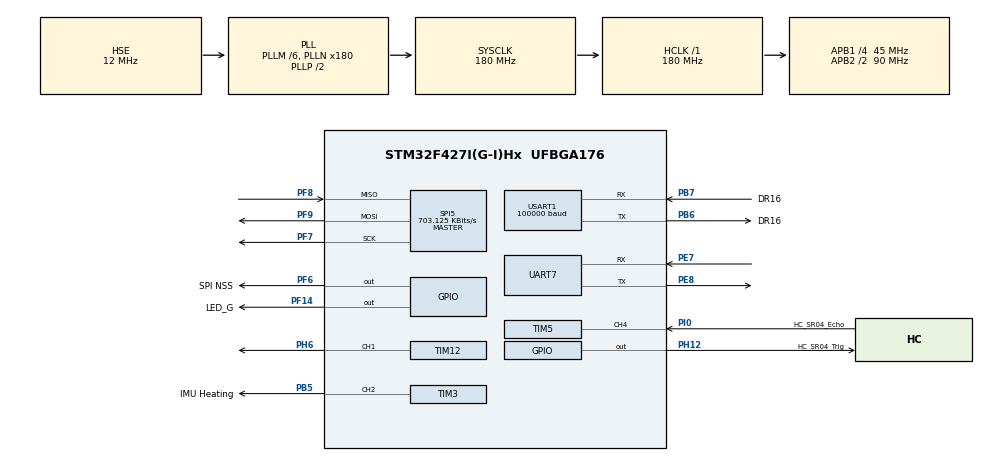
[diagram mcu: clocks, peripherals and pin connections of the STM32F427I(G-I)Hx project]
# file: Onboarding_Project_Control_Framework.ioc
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Dma.Request0=USART1_RX
Dma.USART1_RX.0.Direction=DMA_PERIPH_TO_MEMORY
Dma.USART1_RX.0.FIFOMode=DMA_FIFOMODE_DISABLE
Dma.USART1_RX.0.Instance=DMA2_Stream2
Dma.USART1_RX.0.MemDataAlignment=DMA_MDATAALIGN_BYTE
Dma.USART1_RX.0.MemInc=DMA_MINC_ENABLE
Dma.USART1_RX.0.Mode=DMA_CIRCULAR
Dma.USART1_RX.0.PeriphDataAlignment=DMA_PDATAALIGN_BYTE
Dma.USART1_RX.0.PeriphInc=DMA_PINC_DISABLE
Dma.USART1_RX.0.Priority=DMA_PRIORITY_LOW
FREERTOS.INCLUDE_vTaskDelayUntil=1
FREERTOS.Tasks01=Task_IMU,0,384,StartIMUTask,Default,NULL,Dynamic,NULL,NULL;Task_Init,2,128,General_Init,Default,NULL,Dynamic,NULL,NULL;Task_Robot_Ctrl,3,640,Robot_Control,Default,NULL,Dynamic,NULL,NULL;Task_Serial,2,128,Serial_Send,Default,NULL,Dynamic,NULL,NULL;Task_Warning,0,128,Sound_Warning,Default,NULL,Dynamic,NULL,NULL
Mcu.Family=STM32F4
Mcu.Name=STM32F427I(G-I)Hx
Mcu.Package=UFBGA176
NVIC.DMA2_Stream2_IRQn=true\:0\:0\:true\:false\:true\:false\:false\:false\:true
NVIC.PriorityGroup=NVIC_PRIORITYGROUP_4
NVIC.TIM5_IRQn=true\:5\:0\:true\:false\:true\:true\:true\:true\:true
NVIC.TIM6_DAC_IRQn=true\:15\:0\:true\:false\:true\:false\:false\:true\:true
NVIC.TimeBase=TIM6_DAC_IRQn
NVIC.TimeBaseIP=TIM6
NVIC.USART1_IRQn=true\:5\:0\:true\:false\:true\:true\:true\:false\:true
PA13.Mode=Serial_Wire
PA13.Signal=SYS_JTMS-SWDIO
PA14.Mode=Serial_Wire
PA14.Signal=SYS_JTCK-SWCLK
PB5.GPIO_Label=IMU Heating
PB5.Signal=S_TIM3_CH2
PB6.GPIO_Label=DR16
PB6.GPIO_PuPd=GPIO_PULLUP
PB6.Mode=Asynchronous
PB6.Signal=USART1_TX
PB7.GPIO_Label=DR16
PB7.GPIO_PuPd=GPIO_PULLUP
PB7.Mode=Asynchronous
PB7.Signal=USART1_RX
PE7.Mode=Asynchronous
PE7.Signal=UART7_RX
PE8.Mode=Asynchronous
PE8.Signal=UART7_TX
PF14.GPIO_Label=LED_G
PF14.GPIO_PuPd=GPIO_NOPULL
PF14.PinState=GPIO_PIN_RESET
PF14.Signal=GPIO_Output
PF6.GPIO_Label=SPI NSS
PF6.GPIO_PuPd=GPIO_PULLUP
PF6.GPIO_Speed=GPIO_SPEED_FREQ_LOW
PF6.Signal=GPIO_Output
PF7.Mode=Full_Duplex_Master
PF7.Signal=SPI5_SCK
PF8.Mode=Full_Duplex_Master
PF8.Signal=SPI5_MISO
PF9.Mode=Full_Duplex_Master
PF9.Signal=SPI5_MOSI
PH0/OSC_IN.Mode=HSE-External-Oscillator
PH0/OSC_IN.Signal=RCC_OSC_IN
PH1/OSC_OUT.Mode=HSE-External-Oscillator
PH1/OSC_OUT.Signal=RCC_OSC_OUT
PH12.GPIO_Label=HC_SR04_Trig
PH12.GPIO_Speed=GPIO_SPEED_FREQ_HIGH
PH12.Signal=GPIO_Output
PH6.Signal=S_TIM12_CH1
PI0.GPIO_Label=HC_SR04_Echo
PI0.Signal=S_TIM5_CH4
ProjectManager.HeapSize=0x200
ProjectManager.StackSize=0x400
ProjectManager.TargetToolchain=MDK-ARM V5.32
RCC.48MHZClocksFreq_Value=90000000
RCC.AHBFreq_Value=180000000
RCC.APB1CLKDivider=RCC_HCLK_DIV4
RCC.APB1Freq_Value=45000000
RCC.APB1TimFreq_Value=90000000
RCC.APB2CLKDivider=RCC_HCLK_DIV2
RCC.APB2Freq_Value=90000000
RCC.APB2TimFreq_Value=180000000
RCC.CortexFreq_Value=180000000
RCC.HCLKFreq_Value=180000000
RCC.HSE_VALUE=12000000
RCC.HSI_VALUE=16000000
RCC.LSE_VALUE=32768
RCC.PLLM=6
RCC.PLLN=180
RCC.PLLSourceVirtual=RCC_PLLSOURCE_HSE
RCC.SYSCLKFreq_VALUE=180000000
RCC.SYSCLKSource=RCC_SYSCLKSOURCE_PLLCLK
RCC.VCOOutputFreq_Value=360000000
SH.S_TIM12_CH1.0=TIM12_CH1,PWM Generation1 CH1
SH.S_TIM3_CH2.0=TIM3_CH2,PWM Generation2 CH2
SH.S_TIM5_CH4.0=TIM5_CH4,Input_Capture4_from_TI4
SPI5.BaudRatePrescaler=SPI_BAUDRATEPRESCALER_128
SPI5.CalculateBaudRate=703.125 KBits/s
SPI5.Direction=SPI_DIRECTION_2LINES
SPI5.Mode=SPI_MODE_MASTER
SPI5.VirtualType=VM_MASTER
TIM12.Channel-PWM\ Generation1\ CH1=TIM_CHANNEL_1
TIM12.Period=0
TIM12.Prescaler=45
TIM3.Channel-PWM\ Generation2\ CH2=TIM_CHANNEL_2
TIM3.Period=4999
TIM5.Channel-Input_Capture4_from_TI4=TIM_CHANNEL_4
TIM5.ICFilter_CH4=0
TIM5.ICPolarity_CH4=TIM_INPUTCHANNELPOLARITY_RISING
TIM5.Period=100000-1
TIM5.Prescaler=90-1
UART7.VirtualMode=Asynchronous
USART1.BaudRate=100000
USART1.VirtualMode=VM_ASYNC
VP_FREERTOS_VS_CMSIS_V1.Mode=CMSIS_V1
VP_SYS_VS_tim6.Mode=TIM6
VP_TIM3_VS_ClockSourceINT.Mode=Internal
VP_TIM5_VS_ClockSourceINT.Mode=Internal
board=custom

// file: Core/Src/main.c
/* USER CODE BEGIN Header */
/**
  ******************************************************************************
  * @file           : main.c
  * @brief          : Main program body
  ******************************************************************************
  * @attention
  *
  * Copyright (c) 2022 STMicroelectronics.
  * All rights reserved.
  *
  * This software is licensed under terms that can be found in the LICENSE file
  * in the root directory of this software component.
  * If no LICENSE file comes with this software, it is provided AS-IS.
  *
  ******************************************************************************
  */
/* USER CODE END Header */
#include "main.h"
#include "cmsis_os.h"
#include "dma.h"
#include "spi.h"
#include "tim.h"
#include "usart.h"
#include "gpio.h"

/* USER CODE BEGIN Includes */
#include "HC_SR04.h"
/* USER CODE END Includes */

void SystemClock_Config(void);
void MX_FREERTOS_Init(void);

int main(void)
{

  /* MCU Configuration--------------------------------------------------------*/

  /* Reset of all peripherals, Initializes the Flash interface and the Systick. */
  HAL_Init();

  /* Configure the system clock */
  SystemClock_Config();

  /* Initialize all configured peripherals */
  MX_GPIO_Init();
  MX_DMA_Init();
  MX_TIM3_Init();
  MX_USART1_UART_Init();
  MX_SPI5_Init();
  MX_TIM5_Init();
  MX_UART7_Init();
  MX_TIM12_Init();

  /* Call init function for freertos objects (in freertos.c) */
  MX_FREERTOS_Init();

  /* Start scheduler */
  osKernelStart();

  /* We should never get here as control is now taken by the scheduler */
  /* Infinite loop */
  while (1)
  {

  }
}

void SystemClock_Config(void)
{
  RCC_OscInitTypeDef RCC_OscInitStruct = {0};
  RCC_ClkInitTypeDef RCC_ClkInitStruct = {0};

  /** Configure the main internal regulator output voltage
  */
  __HAL_RCC_PWR_CLK_ENABLE();
  __HAL_PWR_VOLTAGESCALING_CONFIG(PWR_REGULATOR_VOLTAGE_SCALE1);

  /** Initializes the RCC Oscillators according to the specified parameters
  * in the RCC_OscInitTypeDef structure.
  */
  RCC_OscInitStruct.OscillatorType = RCC_OSCILLATORTYPE_LSI|RCC_OSCILLATORTYPE_HSE;
  RCC_OscInitStruct.HSEState = RCC_HSE_ON;
  RCC_OscInitStruct.LSIState = RCC_LSI_ON;
  RCC_OscInitStruct.PLL.PLLState = RCC_PLL_ON;
  RCC_OscInitStruct.PLL.PLLSource = RCC_PLLSOURCE_HSE;
  RCC_OscInitStruct.PLL.PLLM = 6;
  RCC_OscInitStruct.PLL.PLLN = 180;
  RCC_OscInitStruct.PLL.PLLP = RCC_PLLP_DIV2;
  RCC_OscInitStruct.PLL.PLLQ = 4;
  if (HAL_RCC_OscConfig(&RCC_OscInitStruct) != HAL_OK)
  {
    Error_Handler();
  }

  /** Activate the Over-Drive mode
  */
  if (HAL_PWREx_EnableOverDrive() != HAL_OK)
  {
    Error_Handler();
  }

  /** Initializes the CPU, AHB and APB buses clocks
  */
  RCC_ClkInitStruct.ClockType = RCC_CLOCKTYPE_HCLK|RCC_CLOCKTYPE_SYSCLK
                              |RCC_CLOCKTYPE_PCLK1|RCC_CLOCKTYPE_PCLK2;
  RCC_ClkInitStruct.SYSCLKSource = RCC_SYSCLKSOURCE_PLLCLK;
  RCC_ClkInitStruct.AHBCLKDivider = RCC_SYSCLK_DIV1;
  RCC_ClkInitStruct.APB1CLKDivider = RCC_HCLK_DIV4;
  RCC_ClkInitStruct.APB2CLKDivider = RCC_HCLK_DIV2;

  if (HAL_RCC_ClockConfig(&RCC_ClkInitStruct, FLASH_LATENCY_5) != HAL_OK)
  {
    Error_Handler();
  }
}

void HAL_TIM_PeriodElapsedCallback(TIM_HandleTypeDef *htim)
{
  if (htim->Instance == TIM6) {
    HAL_IncTick();
  }
}

void Error_Handler(void)
{
  __disable_irq();
  while (1)
  {
  }
}

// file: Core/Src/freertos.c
/* USER CODE BEGIN Header */
/**
  ******************************************************************************
  * File Name          : freertos.c
  * Description        : Code for freertos applications
  ******************************************************************************
  * @attention
  *
  * Copyright (c) 2022 STMicroelectronics.
  * All rights reserved.
  *
  * This software is licensed under terms that can be found in the LICENSE file
  * in the root directory of this software component.
  * If no LICENSE file comes with this software, it is provided AS-IS.
  *
  ******************************************************************************
  */
/* USER CODE END Header */

#include "FreeRTOS.h"
#include "task.h"
#include "main.h"
#include "cmsis_os.h"

/* USER CODE BEGIN Includes */
#include "Board_A_IMU.h"
#include "IMU_Temp_Control.h"
#include "DR16_Remote.h"
#include "Fusion.h"
#include "Motors.h"
#include "Robot_Control.h"
#include "HC_SR04.h"
#include "Serial.h"
#include "Buzzer.h"
/* USER CODE END Includes */

osThreadId Task_IMUHandle;
osThreadId Task_InitHandle;
osThreadId Task_Robot_CtrlHandle;
osThreadId Task_SerialHandle;
osThreadId Task_WarningHandle;

void StartIMUTask(void const * argument);
void General_Init(void const * argument);
void Robot_Control(void const * argument);
void Serial_Send(void const * argument);
void Sound_Warning(void const * argument);

void MX_FREERTOS_Init(void); /* (MISRA C 2004 rule 8.1) */

/* GetIdleTaskMemory prototype (linked to static allocation support) */
void vApplicationGetIdleTaskMemory( StaticTask_t **ppxIdleTaskTCBBuffer, StackType_t **ppxIdleTaskStackBuffer, uint32_t *pulIdleTaskStackSize );

/* USER CODE BEGIN GET_IDLE_TASK_MEMORY */
static StaticTask_t xIdleTaskTCBBuffer;
static StackType_t xIdleStack[configMINIMAL_STACK_SIZE];

void vApplicationGetIdleTaskMemory( StaticTask_t **ppxIdleTaskTCBBuffer, StackType_t **ppxIdleTaskStackBuffer, uint32_t *pulIdleTaskStackSize )
{
  *ppxIdleTaskTCBBuffer = &xIdleTaskTCBBuffer;
  *ppxIdleTaskStackBuffer = &xIdleStack[0];
  *pulIdleTaskStackSize = configMINIMAL_STACK_SIZE;
  /* place for user code */
}
/* USER CODE END GET_IDLE_TASK_MEMORY */

void MX_FREERTOS_Init(void) {

  /* Create the thread(s) */
  /* definition and creation of Task_IMU */
  osThreadDef(Task_IMU, StartIMUTask, osPriorityNormal, 0, 384);
  Task_IMUHandle = osThreadCreate(osThread(Task_IMU), NULL);

  /* definition and creation of Task_Init */
  osThreadDef(Task_Init, General_Init, osPriorityHigh, 0, 128);
  Task_InitHandle = osThreadCreate(osThread(Task_Init), NULL);

  /* definition and creation of Task_Robot_Ctrl */
  osThreadDef(Task_Robot_Ctrl, Robot_Control, osPriorityRealtime, 0, 640);
  Task_Robot_CtrlHandle = osThreadCreate(osThread(Task_Robot_Ctrl), NULL);

  /* definition and creation of Task_Serial */
  osThreadDef(Task_Serial, Serial_Send, osPriorityHigh, 0, 128);
  Task_SerialHandle = osThreadCreate(osThread(Task_Serial), NULL);

  /* definition and creation of Task_Warning */
  osThreadDef(Task_Warning, Sound_Warning, osPriorityNormal, 0, 128);
  Task_WarningHandle = osThreadCreate(osThread(Task_Warning), NULL);

}

void StartIMUTask(void const * argument)
{
  /* USER CODE BEGIN StartIMUTask */
	portTickType xLastWakeTime;
  xLastWakeTime = xTaskGetTickCount();

  const TickType_t TimeIncrement = pdMS_TO_TICKS(2);
  /* Infinite loop */
  for(;;)
  {
		Board_A_IMU_Func.Board_A_IMU_Read_Data(&Board_A_IMU);
		Board_A_IMU_Func.Board_A_IMU_Calc_Angle(&Board_A_IMU);
		Board_A_IMU_Func.Board_A_IMU_Calibrate(&Board_A_IMU);
		IMU_Temp_Control_Func.Board_A_IMU_Temp_Control();
		HC_SR04_Func.HC_SR04_Start();

		vTaskDelayUntil(&xLastWakeTime, TimeIncrement);
  }
  /* USER CODE END StartIMUTask */
}

void General_Init(void const * argument)
{
  /* USER CODE BEGIN General_Init */
	IMU_Temp_Control_Func.Board_A_IMU_Temp_Control_Init();
	Board_A_IMU_Func.Board_A_IMU_Init();
	FusionAhrsInitialise(&Board_A_IMU_AHRS);
	DR16_Func.DR16_USART_Receive_DMA(&huart1);
	Motors_Func.Motors_Init();
	HC_SR04_Func.HC_SR04_Init();
	Buzzer_Func.Buzzer_Init();
	vTaskDelete(NULL);
  /* Infinite loop */
  /* USER CODE END General_Init */
}

void Robot_Control(void const * argument)
{
  /* USER CODE BEGIN Robot_Control */
	portTickType xLastWakeTime;
  xLastWakeTime = xTaskGetTickCount();

  const TickType_t TimeIncrement = pdMS_TO_TICKS(2);
  /* Infinite loop */
  for(;;)
  {
		Robot_Func.Robot_Get_Data();
		Robot_Func.Robot_In_Control();
		HAL_GPIO_TogglePin(LED_G_GPIO_Port,LED_G_Pin);
		osDelay(1000);
		vTaskDelayUntil(&xLastWakeTime, TimeIncrement);
  }
  /* USER CODE END Robot_Control */
}

void Serial_Send(void const * argument)
{
  /* USER CODE BEGIN Serial_Send */
	portTickType xLastWakeTime;
  xLastWakeTime = xTaskGetTickCount();

  const TickType_t TimeIncrement = pdMS_TO_TICKS(10);
  /* Infinite loop */
  for(;;)
  {
    printf("/*%f,%f*/\n",HC_SR04.Distance_Raw,HC_SR04.Distance_KF);
		vTaskDelayUntil(&xLastWakeTime, TimeIncrement);
  }
  /* USER CODE END Serial_Send */
}

void Sound_Warning(void const * argument)
{
  /* USER CODE BEGIN Sound_Warning */
	portTickType xLastWakeTime;
  xLastWakeTime = xTaskGetTickCount();

  const TickType_t TimeIncrement = pdMS_TO_TICKS(10);
  /* Infinite loop */
  for(;;)
  {
		if(HC_SR04.Distance_KF < 80.0f)
			Buzzer_Func.Buzzer_Warning();
		vTaskDelayUntil(&xLastWakeTime, TimeIncrement);
  }
  /* USER CODE END Sound_Warning */
}
